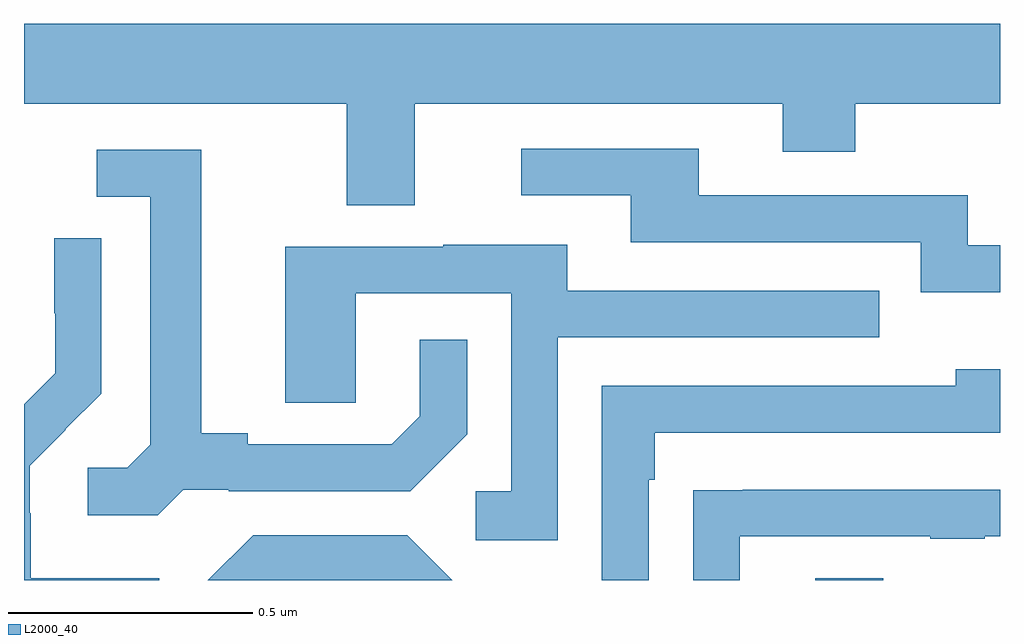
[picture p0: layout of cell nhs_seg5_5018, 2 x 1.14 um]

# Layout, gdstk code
import gdstk
lib = gdstk.Library(unit=1e-6, precision=1e-09)
def R(c, l, rs):  # rectangles x0, y0, x1, y1
    for r in rs: c.add(gdstk.rectangle(r[:2], r[2:], *l))
def P(c, l, *ps):  # polygons
    for p in ps: c.add(gdstk.Polygon(p, *l))
L2000_40 = (2000, 40)

nhs_seg5_5018 = lib.new_cell('nhs_seg5_5018')
R(nhs_seg5_5018, L2000_40, [(179.621,839.799,179.761,839.803)])
P(nhs_seg5_5018, L2000_40, [(178.801,840.776),(179.555,840.776),(179.555,840.677),(179.703,840.677),(179.703,840.776),(180,840.776),(180,840.94),(178,840.94),(178,840.776),(178.661,840.776),(178.661,840.568),(178.801,840.568)],
  [(180,840.486),(179.934,840.486),(179.934,840.588),(179.383,840.588),(179.383,840.684),(179.019,840.684),(179.019,840.588),(179.243,840.588),(179.243,840.492),(179.838,840.492),(179.838,840.389),(180,840.389)],
  [(178.326,839.985),(178.42,839.985),(178.42,839.982),(178.792,839.982),(178.908,840.098),(178.908,840.292),(178.811,840.292),(178.811,840.135),(178.754,840.078),(178.459,840.078),(178.459,840.101),(178.363,840.101),(178.363,840.681),(178.149,840.681),(178.149,840.585),(178.259,840.585),(178.259,840.077),(178.212,840.03),(178.131,840.03),(178.131,839.933),(178.274,839.933)],
  [(178.277,839.803),(178.014,839.803),(178.014,839.937),(178.012,839.937),(178.012,840.034),(178.086,840.108),(178.085,840.109),(178.158,840.182),(178.158,840.5),(178.062,840.5),(178.062,840.346),(178.064,840.346),(178.064,840.224),(178,840.16),(178,839.799),(178.277,839.799)],
  [(179.094,840.297),(179.753,840.297),(179.753,840.393),(179.113,840.393),(179.113,840.487),(178.859,840.487),(178.859,840.483),(178.535,840.483),(178.535,840.163),(178.68,840.163),(178.68,840.387),(178.998,840.387),(178.998,839.982),(178.926,839.982),(178.926,839.881),(179.094,839.881)],
  [(179.28,840.005),(179.293,840.005),(179.293,840.102),(180,840.102),(180,840.232),(179.909,840.232),(179.909,840.198),(179.184,840.198),(179.184,839.799),(179.28,839.799)],
  [(179.467,839.889),(179.857,839.889),(179.857,839.884),(179.969,839.884),(179.969,839.889),(180,839.889),(180,839.985),(179.473,839.985),(179.473,839.984),(179.371,839.984),(179.371,839.799),(179.467,839.799)],
  [(178.785,839.892),(178.47,839.892),(178.377,839.799),(178.878,839.799)])

lib.write_gds('nhs_seg5_5018.gds')
